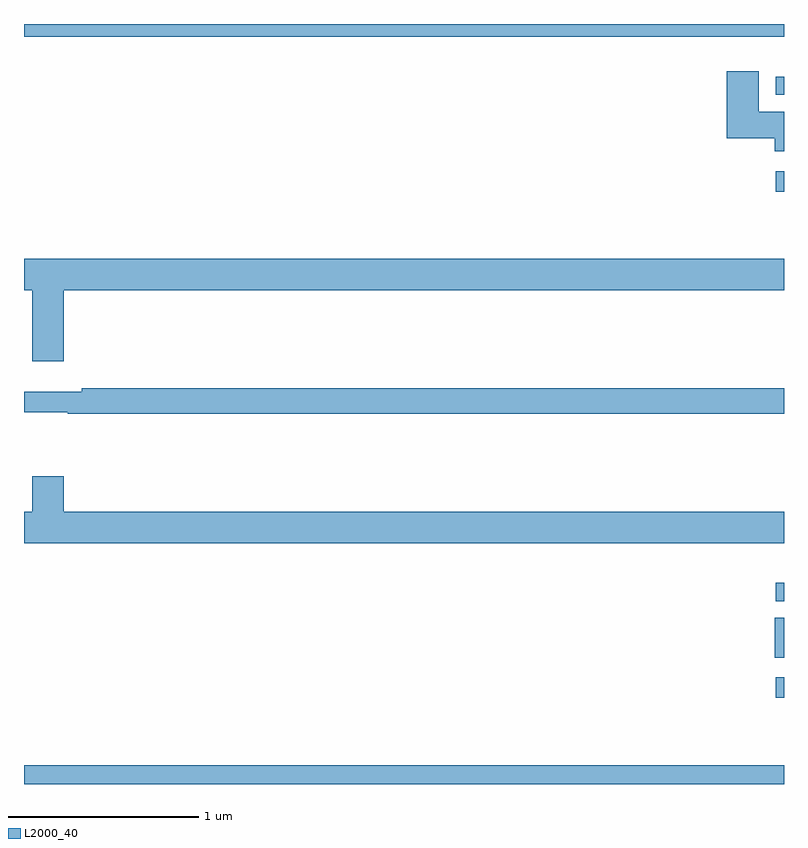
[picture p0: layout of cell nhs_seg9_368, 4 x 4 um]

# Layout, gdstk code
import gdstk
lib = gdstk.Library(unit=1e-6, precision=1e-09)
def R(c, l, rs):  # rectangles x0, y0, x1, y1
    for r in rs: c.add(gdstk.rectangle(r[:2], r[2:], *l))
def P(c, l, *ps):  # polygons
    for p in ps: c.add(gdstk.Polygon(p, *l))
L2000_40 = (2000, 40)

nhs_seg9_368 = lib.new_cell('nhs_seg9_368')
R(nhs_seg9_368, L2000_40, [(129,1180.5,133,1180.6), (132.957,1180.953,133,1181.061), (132.95,1181.165,133,1181.374), (132.957,1181.463,133,1181.559), (132.957,1183.617,133,1183.725), (132.957,1184.127,133,1184.223), (129,1184.432,133,1184.5)])
P(nhs_seg9_368, L2000_40, [(133,1184.038),(132.868,1184.038),(132.868,1184.251),(132.698,1184.251),(132.698,1183.898),(132.95,1183.898),(132.95,1183.829),(133,1183.829)],
  [(129.208,1183.1),(133,1183.1),(133,1183.264),(129,1183.264),(129,1183.1),(129.044,1183.1),(129.044,1182.726),(129.208,1182.726)],
  [(133,1182.584),(129.304,1182.584),(129.304,1182.565),(129,1182.565),(129,1182.456),(129.23,1182.456),(129.23,1182.448),(133,1182.448)],
  [(133,1181.932),(129.208,1181.932),(129.208,1182.121),(129.044,1182.121),(129.044,1181.932),(129,1181.932),(129,1181.768),(133,1181.768)])

lib.write_gds('nhs_seg9_368.gds')
